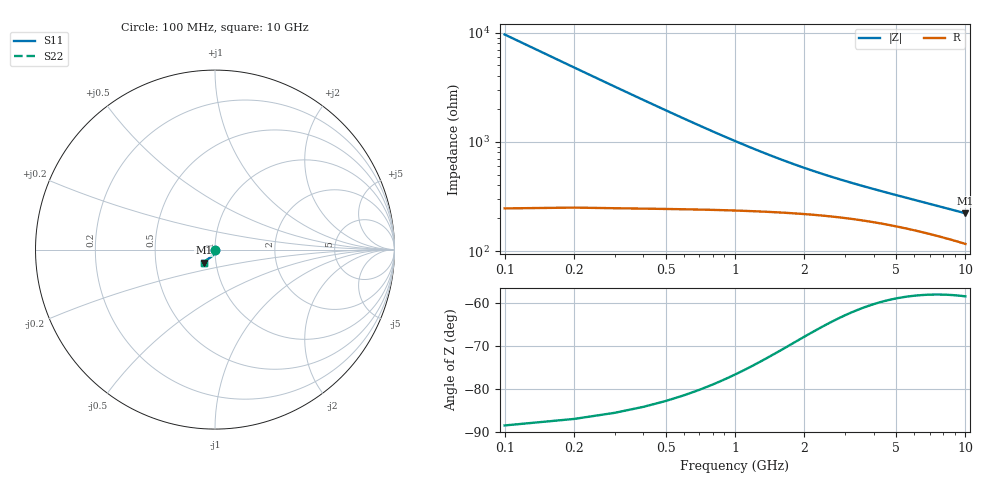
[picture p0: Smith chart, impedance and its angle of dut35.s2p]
! Touchstone file exported from HFSS 2024.1.0
!  File:  C:/UserFiles/LocalFiles/RDL_TSV_Batchsim/temp_TSV1_35_1778747846.aedt
!  Generated:  04:41:28 PM May 14, 2026
!  Design:  TSV1
!  Project:  temp_TSV1_35_1778747846
!  Setup:  Setup1
!  Solution:  Sweep
! Variables:
!  dtsv = 20.27um
!  hbump = 3um
!  htsv = 67.29um
!  lrdl = 252.1521522um
!  p = 40
!  p1 = 43.31um
!  t = 500um
!  trdl = 3um
!  wrdl = 24.89489489um
# GHz S MA R 50.000000
! Terminal data exported
! Port[1] = TSV22_T1
! Port[2] = TSV22_T2
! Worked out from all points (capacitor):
!   100 points, 100 MHz to 10 GHz, reference 50 ohm
!   read as one part in shunt: C = 166 fF near 100 MHz
!   lowest |Z| = 222 ohm at 10 GHz (marker M1)
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0.1  0.002409 -89.8  0.9998 -0.2  0.9998 -0.2  0.002409 -89.8
! Gamma 0 0 0 0
! Port Impedance 50 0 50 0
0.2  0.004843 -92.4  0.9996 -0.3  0.9996 -0.3  0.004843 -92.4
0.3  0.007254 -94.3  0.9993 -0.5  0.9993 -0.5  0.007254 -94.3
0.4  0.009634 -96.0  0.9988 -0.6  0.9988 -0.6  0.009634 -96.0
0.5  0.01198 -97.6  0.9981 -0.8  0.9981 -0.8  0.01198 -97.6
0.6  0.01427 -99.1  0.9974 -0.9  0.9974 -0.9  0.01427 -99.1
0.7  0.01652 -100.6  0.9966 -1.1  0.9966 -1.1  0.01652 -100.6
0.8  0.01871 -102.0  0.9957 -1.2  0.9957 -1.2  0.01871 -102.0
0.9  0.02084 -103.4  0.9948 -1.3  0.9948 -1.3  0.02084 -103.4
1.1  0.02491 -106.1  0.9927 -1.6  0.9927 -1.6  0.02491 -106.1
1.4  0.03051 -109.6  0.9894 -1.9  0.9894 -1.9  0.03051 -109.6
1.6  0.0339 -111.8  0.9872 -2.1  0.9872 -2.1  0.0339 -111.8
1.8  0.03705 -113.7  0.985 -2.3  0.985 -2.3  0.03705 -113.7
2.1  0.04135 -116.2  0.9817 -2.5  0.9817 -2.5  0.04135 -116.2
2.5  0.04639 -118.9  0.9776 -2.8  0.9776 -2.8  0.04639 -118.9
2.9  0.05081 -121.1  0.9739 -3.0  0.9739 -3.0  0.05081 -121.1
3.4  0.05567 -123.2  0.9698 -3.3  0.9698 -3.3  0.05567 -123.2
4.2  0.06239 -125.6  0.9642 -3.6  0.9642 -3.6  0.06239 -125.6
5.1  0.06894 -127.3  0.959 -4.0  0.959 -4.0  0.06894 -127.3
6.7  0.07898 -129.1  0.9515 -4.7  0.9515 -4.7  0.07898 -129.1
8.4  0.08824 -130.0  0.9451 -5.3  0.9451 -5.3  0.08824 -130.0
10  0.09612 -130.5  0.9401 -5.9  0.9401 -5.9  0.09612 -130.5
